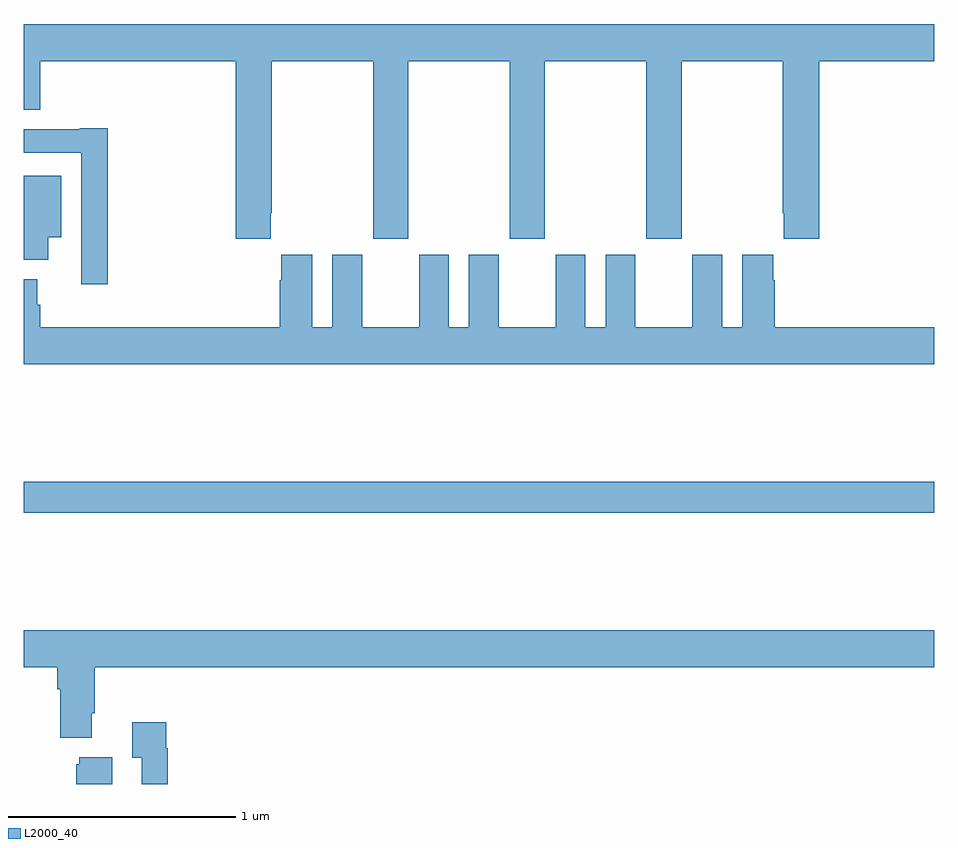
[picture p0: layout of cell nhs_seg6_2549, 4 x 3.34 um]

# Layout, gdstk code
import gdstk
lib = gdstk.Library(unit=1e-6, precision=1e-09)
def R(c, l, rs):  # rectangles x0, y0, x1, y1
    for r in rs: c.add(gdstk.rectangle(r[:2], r[2:], *l))
def P(c, l, *ps):  # polygons
    for p in ps: c.add(gdstk.Polygon(p, *l))
L2000_40 = (2000, 40)

nhs_seg6_2549 = lib.new_cell('nhs_seg6_2549')
R(nhs_seg6_2549, L2000_40, [(263,938.692,267,938.828)])
P(nhs_seg6_2549, L2000_40, [(264.085,940.009),(264.09,940.009),(264.09,940.676),(264.535,940.676),(264.535,939.897),(264.69,939.897),(264.69,940.676),(265.135,940.676),(265.135,939.897),(265.29,939.897),(265.29,940.676),(265.735,940.676),(265.735,939.897),(265.89,939.897),(265.89,940.676),(266.335,940.676),(266.335,940.009),(266.339,940.009),(266.339,939.897),(266.495,939.897),(266.495,940.676),(267,940.676),(267,940.84),(263,940.84),(263,940.463),(263.072,940.463),(263.072,940.676),(263.93,940.676),(263.93,939.897),(264.085,939.897)],
  [(263.369,940.381),(263.246,940.381),(263.246,940.378),(263,940.378),(263,940.274),(263.253,940.274),(263.253,939.696),(263.369,939.696)],
  [(263.107,939.902),(263.164,939.902),(263.164,940.174),(263,940.174),(263,939.803),(263.107,939.803)],
  [(267,939.508),(266.3,939.508),(266.3,939.713),(266.293,939.713),(266.293,939.826),(266.156,939.826),(266.156,939.508),(266.068,939.508),(266.068,939.826),(265.937,939.826),(265.937,939.508),(265.687,939.508),(265.687,939.826),(265.556,939.826),(265.556,939.508),(265.468,939.508),(265.468,939.826),(265.337,939.826),(265.337,939.508),(265.087,939.508),(265.087,939.826),(264.956,939.826),(264.956,939.508),(264.868,939.508),(264.868,939.826),(264.737,939.826),(264.737,939.508),(264.487,939.508),(264.487,939.826),(264.356,939.826),(264.356,939.508),(264.268,939.508),(264.268,939.826),(264.131,939.826),(264.131,939.713),(264.125,939.713),(264.125,939.508),(263.072,939.508),(263.072,939.606),(263.059,939.606),(263.059,939.718),(263,939.718),(263,939.344),(267,939.344)],
  [(263,938.012),(263.147,938.012),(263.147,937.916),(263.159,937.916),(263.159,937.703),(263.299,937.703),(263.299,937.81),(263.312,937.81),(263.312,938.012),(267,938.012),(267,938.176),(263,938.176)],
  [(263.633,937.658),(263.626,937.658),(263.626,937.771),(263.477,937.771),(263.477,937.615),(263.517,937.615),(263.517,937.5),(263.633,937.5)],
  [(263.389,937.618),(263.243,937.618),(263.243,937.587),(263.231,937.587),(263.231,937.5),(263.389,937.5)])

lib.write_gds('nhs_seg6_2549.gds')
